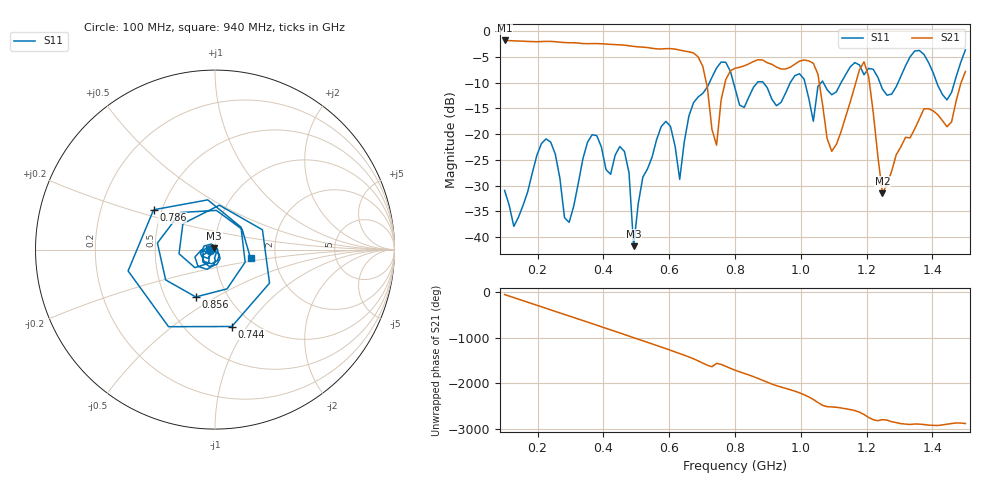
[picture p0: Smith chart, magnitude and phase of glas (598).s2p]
! NanoVNA-App
! Date: 2025-09-25 16:00:08
! Start: 100MHz Stop: 1,5GHz Points: 101
! S-Parameter data: F S11 S21 S12 S22
# Hz S RI R 50
!  Frequency  S11_Real  S11_Imag  S21_Real  S21_Imag  S12_Real  S12_Imag  S22_Real  S22_Imag
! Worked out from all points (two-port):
!   101 points, 100 MHz to 1.5 GHz, reference 50 ohm
!   highest |S21| = -1.80 dB at 100 MHz (marker M1); lowest = -31.5 dB at 1.248 GHz (marker M2)
!   |S21| within 3 dB of the highest: start of sweep to 684.5 MHz
!   lowest |S11| = -41.8 dB at 492 MHz (marker M3), VSWR 1.02, Z = 49.5 + j0.649 ohm
!   |S11| at or under -10 dB: start of sweep to 722.3 MHz; 795.5 MHz to 867.7 MHz (72.26 MHz wide, 8.69 % of centre); 886.2 MHz to 967.8 MHz (81.62 MHz wide, 8.81 % of centre) (the widest 3 of 7)
!   S12 and S22 are empty: the file has one direction only
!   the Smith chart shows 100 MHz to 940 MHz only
!   S11 on the Smith chart (normalised r, x): 100 MHz: 0.95, -0.01; 744 MHz: 0.80, -0.85; 786 MHz: 0.45, +0.24; 856 MHz: 0.71, -0.41; 940 MHz: 1.48, -0.15
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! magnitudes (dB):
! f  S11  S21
! 100 MHz  -30.9  -1.8
! 128 MHz  -37.9  -1.9
! 226 MHz  -20.9  -2.0
! 296 MHz  -37.1  -2.2
! 338 MHz  -24.7  -2.4
! 464 MHz  -23.4  -2.7
! 492 MHz  -41.8  -3.0
! 576 MHz  -18.5  -3.5
! 632 MHz  -28.8  -3.7
! 702 MHz  -12.1  -6.8
! 744 MHz  -7.2  -22.1
! 786 MHz  -7.8  -7.7
! 800 MHz  -11.1  -7.2
! 856 MHz  -10.9  -5.9
! 940 MHz  -13.8  -7.3
! 996 MHz  -8.3  -5.8
! 1.038 GHz  -17.5  -6.2
! 1.094 GHz  -12.3  -23.3
! 1.192 GHz  -8.5  -6.0
! 1.248 GHz  -11.3  -31.5
! 1.276 GHz  -12.2  -27.2
! 1.5 GHz  -3.6  -7.8
